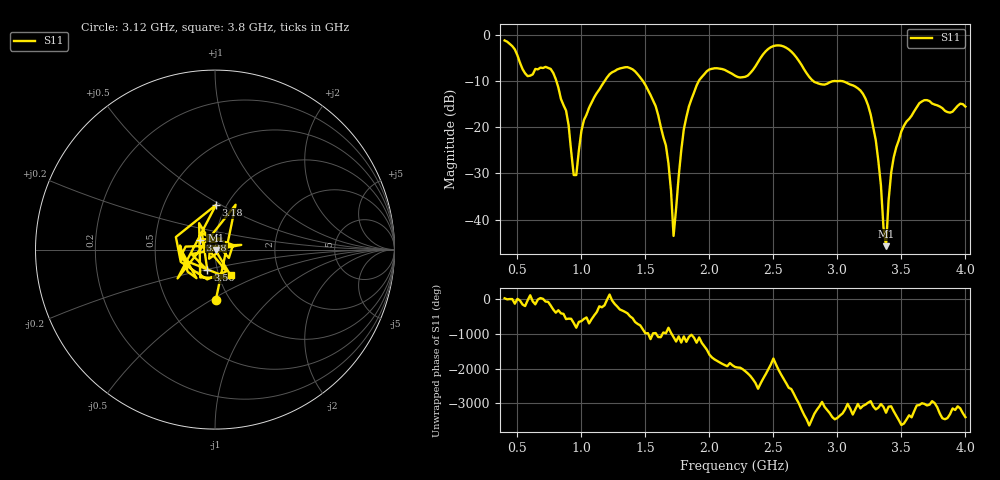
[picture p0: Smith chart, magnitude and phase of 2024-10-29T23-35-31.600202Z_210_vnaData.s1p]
!Created with skrf (http://scikit-rf.org).
# Hz S RI R 50.0
!freq ReS11 ImS11
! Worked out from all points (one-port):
!   181 points, 400 MHz to 4 GHz, reference 50 ohm
!   lowest |S11| = -45.8 dB at 3.38 GHz (marker M1), VSWR 1.01, Z = 50.4 - j0.304 ohm
!   |S11| at or under -10 dB: 804.2 MHz to 1.182 GHz (378.1 MHz wide, 38.1 % of centre); 1.48 GHz to 1.917 GHz (436.9 MHz wide, 25.7 % of centre); 3.021 GHz to end of sweep (the widest 3 of 4)
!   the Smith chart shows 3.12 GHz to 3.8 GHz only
!   S11 on the Smith chart (normalised r, x): 3.12 GHz: 0.86, -0.53; 3.18 GHz: 0.89, +0.47; 3.28 GHz: 0.84, +0.10; 3.56 GHz: 0.90, -0.21; 3.8 GHz: 1.14, -0.33
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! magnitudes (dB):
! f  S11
! 400 MHz  -1.2
! 580 MHz  -9.0
! 760 MHz  -7.4
! 860 MHz  -15.2
! 940 MHz  -30.4
! 960 MHz  -30.4
! 1.02 GHz  -18.4
! 1.3 GHz  -7.3
! 1.58 GHz  -15.4
! 1.68 GHz  -27.8
! 1.72 GHz  -43.5
! 1.76 GHz  -30.7
! 1.82 GHz  -17.8
! 1.92 GHz  -9.8
! 2.2 GHz  -8.9
! 2.5 GHz  -2.5
! 2.66 GHz  -4.2
! 2.82 GHz  -10.2
! 3.1 GHz  -10.8
! 3.12 GHz  -10.9
! 3.18 GHz  -12.1
! 3.28 GHz  -20.0
! 3.38 GHz  -45.8
! 3.4 GHz  -35.9
! 3.44 GHz  -26.5
! 3.56 GHz  -18.2
! 3.8 GHz  -15.5
! 4 GHz  -15.6
